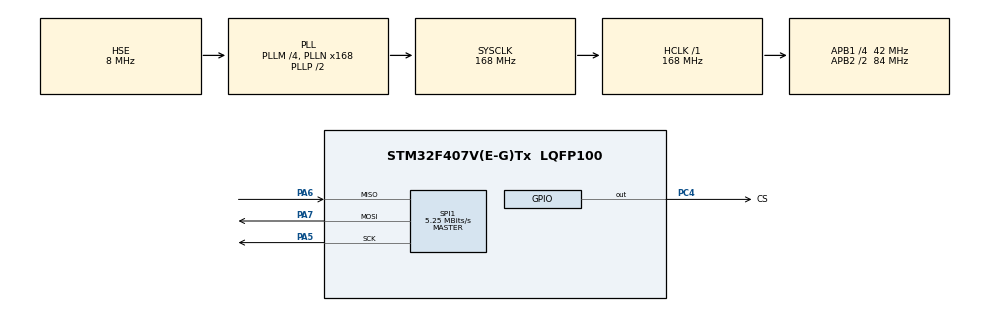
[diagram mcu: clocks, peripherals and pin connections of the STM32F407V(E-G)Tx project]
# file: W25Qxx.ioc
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Mcu.Family=STM32F4
Mcu.Name=STM32F407V(E-G)Tx
Mcu.Package=LQFP100
NVIC.PriorityGroup=NVIC_PRIORITYGROUP_4
PA13.Mode=Trace_Asynchronous_SW
PA13.Signal=SYS_JTMS-SWDIO
PA14.Mode=Trace_Asynchronous_SW
PA14.Signal=SYS_JTCK-SWCLK
PA5.Mode=Full_Duplex_Master
PA5.Signal=SPI1_SCK
PA6.Mode=Full_Duplex_Master
PA6.Signal=SPI1_MISO
PA7.Mode=Full_Duplex_Master
PA7.Signal=SPI1_MOSI
PB3.Mode=Trace_Asynchronous_SW
PB3.Signal=SYS_JTDO-SWO
PC4.GPIO_Label=CS
PC4.Signal=GPIO_Output
PH0-OSC_IN.Mode=HSE-External-Oscillator
PH0-OSC_IN.Signal=RCC_OSC_IN
PH1-OSC_OUT.Mode=HSE-External-Oscillator
PH1-OSC_OUT.Signal=RCC_OSC_OUT
ProjectManager.HeapSize=0x200
ProjectManager.StackSize=0x400
ProjectManager.TargetToolchain=STM32CubeIDE
RCC.48MHZClocksFreq_Value=84000000
RCC.AHBFreq_Value=168000000
RCC.APB1CLKDivider=RCC_HCLK_DIV4
RCC.APB1Freq_Value=42000000
RCC.APB1TimFreq_Value=84000000
RCC.APB2CLKDivider=RCC_HCLK_DIV2
RCC.APB2Freq_Value=84000000
RCC.APB2TimFreq_Value=168000000
RCC.CortexFreq_Value=168000000
RCC.HCLKFreq_Value=168000000
RCC.HSE_VALUE=8000000
RCC.HSI_VALUE=16000000
RCC.LSE_VALUE=32768
RCC.PLLM=4
RCC.PLLN=168
RCC.PLLSourceVirtual=RCC_PLLSOURCE_HSE
RCC.SYSCLKFreq_VALUE=168000000
RCC.SYSCLKSource=RCC_SYSCLKSOURCE_PLLCLK
RCC.VCOOutputFreq_Value=336000000
SPI1.BaudRatePrescaler=SPI_BAUDRATEPRESCALER_16
SPI1.CalculateBaudRate=5.25 MBits/s
SPI1.Direction=SPI_DIRECTION_2LINES
SPI1.Mode=SPI_MODE_MASTER
SPI1.VirtualType=VM_MASTER
board=custom

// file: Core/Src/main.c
/* USER CODE BEGIN Header */
/**
 ******************************************************************************
 * @file           : main.c
 * @brief          : Main program body
 ******************************************************************************
 * @attention
 *
 * Copyright (c) 2025 STMicroelectronics.
 * All rights reserved.
 *
 * This software is licensed under terms that can be found in the LICENSE file
 * in the root directory of this software component.
 * If no LICENSE file comes with this software, it is provided AS-IS.
 *
 ******************************************************************************
 */
/* USER CODE END Header */
#include "main.h"
#include "spi.h"
#include "gpio.h"

/* USER CODE BEGIN Includes */
#include "w25q.h"
#include <stdio.h>
#include <string.h>
#include "flashdb.h"
/* USER CODE END Includes */

/* USER CODE BEGIN PTD */
#define FDB_LOG_TAG "[main]"
/* USER CODE END PTD */

/* USER CODE BEGIN PV */
static uint32_t boot_count = 0;
static time_t boot_time[10] = {0, 1, 2, 3};
/* default KV nodes */
static struct fdb_default_kv_node default_kv_table[] = {
		{"username", "armink", 0}, /* string KV */
		{"password", "123456", 0}, /* string KV */
		{"boot_count", &boot_count, sizeof(boot_count)}, /* int type KV */
		{"boot_time", &boot_time, sizeof(boot_time)},    /* int array type KV */
};
/* KVDB object */
static struct fdb_kvdb kvdb = { 0 };
/* TSDB object */
struct fdb_tsdb tsdb = { 0 };
/* counts for simulated timestamp */
static int counts = 0;
/* USER CODE END PV */

void SystemClock_Config(void);
/* USER CODE BEGIN PFP */
extern void kvdb_basic_sample(fdb_kvdb_t kvdb);
extern void kvdb_type_string_sample(fdb_kvdb_t kvdb);
extern void kvdb_type_blob_sample(fdb_kvdb_t kvdb);
extern void tsdb_sample(fdb_tsdb_t tsdb);

static void lock(fdb_db_t db)
{
//	__disable_irq();
}

static void unlock(fdb_db_t db)
{
//	__enable_irq();
}

static fdb_time_t get_time(void)
{
	/* Using the counts instead of timestamp.
	 * Please change this function to return RTC time.
	 */
	return ++counts;
}
/* USER CODE END PFP */

/* USER CODE BEGIN 0 */
int __io_putchar(int ch)
{
	ITM_SendChar(ch);

	return ch;
}
// Callbacks de hardware de ejemplo
static int32_t w25q_spi_init(void *user_ctx)
{
	MX_SPI1_Init();
	// Inicializar hardware SPI aquí
	printf("SPI inicializado\r\n");
	return 0;
}

static int32_t w25q_spi_write_read(void *user_ctx, const uint8_t *tx, uint8_t *rx, size_t len)
{
	int32_t ret = HAL_OK;
	// Implementar transferencia SPI aquí
	if(tx == NULL)
	{
		ret = HAL_SPI_Receive(&hspi1, rx, len, HAL_MAX_DELAY);
	}
	else if(rx == NULL)
	{
		ret = HAL_SPI_Transmit(&hspi1, tx, len, HAL_MAX_DELAY);
	}
	else
	{
		ret = HAL_SPI_TransmitReceive(&hspi1, tx, rx, len, HAL_MAX_DELAY);
	}

	return ret;
}

static void w25q_cs_control(void *user_ctx, bool level)
{
	HAL_GPIO_WritePin(CS_GPIO_Port, CS_Pin, level ? GPIO_PIN_RESET : GPIO_PIN_SET);
}

static void w25q_delay_ms(uint32_t ms)
{
	HAL_Delay(ms);
}

static void w25q_lock(void *user_ctx) {}
static void w25q_unlock(void *user_ctx) {}

static w25q_hw_t w25q_hw = {
		.spi_init = w25q_spi_init,
		.spi_write_read = w25q_spi_write_read,
		.cs_control = w25q_cs_control,
		.delay_ms = w25q_delay_ms,
		.lock = w25q_lock,
		.unlock = w25q_unlock
};

w25q_handle_t flash;

/* USER CODE END 0 */

int main(void)
{

	/* USER CODE BEGIN 1 */
	w25q_config_t config = {
			.hw = &w25q_hw,
			.user_ctx = NULL,
			.timeout_ms = 5000,
			.software_cs = true
	};
	fdb_err_t result;
	/* USER CODE END 1 */

	/* MCU Configuration--------------------------------------------------------*/

	/* Reset of all peripherals, Initializes the Flash interface and the Systick. */
	HAL_Init();

	/* Configure the system clock */
	SystemClock_Config();

	/* Initialize all configured peripherals */
	MX_GPIO_Init();
	MX_SPI1_Init();
	/* USER CODE BEGIN 2 */
	// Inicializar
	w25q_err_t ret = w25q_init(&flash, &config);
	if (ret != W25Q_OK) {
		printf("Error inicializando: %d\n\r", ret);
		return -1;
	}

	// Obtener información
	w25q_info_t info;
	w25q_get_info(&flash, &info);
	printf("Capacidad: %lu bytes\n\r", info.capacity_bytes);

#ifdef FDB_USING_KVDB
	{ /* KVDB Sample */
		struct fdb_default_kv default_kv;

		default_kv.kvs = default_kv_table;
		default_kv.num = sizeof(default_kv_table) / sizeof(default_kv_table[0]);
		/* set the lock and unlock function if you want */
		fdb_kvdb_control(&kvdb, FDB_KVDB_CTRL_SET_LOCK, (void *)lock);
		fdb_kvdb_control(&kvdb, FDB_KVDB_CTRL_SET_UNLOCK, (void *)unlock);
		/* Key-Value database initialization
		 *
		 *       &kvdb: database object
		 *       "env": database name
		 * "fdb_kvdb1": The flash partition name base on FAL. Please make sure it's in FAL partition table.
		 *              Please change to YOUR partition name.
		 * &default_kv: The default KV nodes. It will auto add to KVDB when first initialize successfully.
		 *        NULL: The user data if you need, now is empty.
		 */
		result = fdb_kvdb_init(&kvdb, "env", "fdb_kvdb1", &default_kv, NULL);

		if (result != FDB_NO_ERR) {
			return -1;
		}

		/* run basic KV samples */
		kvdb_basic_sample(&kvdb);
		/* run string KV samples */
		kvdb_type_string_sample(&kvdb);
		/* run blob KV samples */
		kvdb_type_blob_sample(&kvdb);
	}
#endif /* FDB_USING_KVDB */

#ifdef FDB_USING_TSDB
	{ /* TSDB Sample */
		/* set the lock and unlock function if you want */
		fdb_tsdb_control(&tsdb, FDB_TSDB_CTRL_SET_LOCK, (void *)lock);
		fdb_tsdb_control(&tsdb, FDB_TSDB_CTRL_SET_UNLOCK, (void *)unlock);
		/* Time series database initialization
		 *
		 *       &tsdb: database object
		 *       "log": database name
		 * "fdb_tsdb1": The flash partition name base on FAL. Please make sure it's in FAL partition table.
		 *              Please change to YOUR partition name.
		 *    get_time: The get current timestamp function.
		 *         128: maximum length of each log
		 *        NULL: The user data if you need, now is empty.
		 */
		result = fdb_tsdb_init(&tsdb, "log", "fdb_tsdb1", get_time, 128, NULL);
		/* read last saved time for simulated timestamp */
		fdb_tsdb_control(&tsdb, FDB_TSDB_CTRL_GET_LAST_TIME, &counts);

		if (result != FDB_NO_ERR) {
			return -1;
		}

		/* run TSDB sample */
		tsdb_sample(&tsdb);
	}
#endif /* FDB_USING_TSDB */

	/* USER CODE END 2 */

	/* Infinite loop */
	while (1)
	{

	}
}

void SystemClock_Config(void)
{
	RCC_OscInitTypeDef RCC_OscInitStruct = {0};
	RCC_ClkInitTypeDef RCC_ClkInitStruct = {0};

	/** Configure the main internal regulator output voltage
	 */
	__HAL_RCC_PWR_CLK_ENABLE();
	__HAL_PWR_VOLTAGESCALING_CONFIG(PWR_REGULATOR_VOLTAGE_SCALE1);

	/** Initializes the RCC Oscillators according to the specified parameters
	 * in the RCC_OscInitTypeDef structure.
	 */
	RCC_OscInitStruct.OscillatorType = RCC_OSCILLATORTYPE_HSE;
	RCC_OscInitStruct.HSEState = RCC_HSE_ON;
	RCC_OscInitStruct.PLL.PLLState = RCC_PLL_ON;
	RCC_OscInitStruct.PLL.PLLSource = RCC_PLLSOURCE_HSE;
	RCC_OscInitStruct.PLL.PLLM = 4;
	RCC_OscInitStruct.PLL.PLLN = 168;
	RCC_OscInitStruct.PLL.PLLP = RCC_PLLP_DIV2;
	RCC_OscInitStruct.PLL.PLLQ = 4;
	if (HAL_RCC_OscConfig(&RCC_OscInitStruct) != HAL_OK)
	{
		Error_Handler();
	}

	/** Initializes the CPU, AHB and APB buses clocks
	 */
	RCC_ClkInitStruct.ClockType = RCC_CLOCKTYPE_HCLK|RCC_CLOCKTYPE_SYSCLK
			|RCC_CLOCKTYPE_PCLK1|RCC_CLOCKTYPE_PCLK2;
	RCC_ClkInitStruct.SYSCLKSource = RCC_SYSCLKSOURCE_PLLCLK;
	RCC_ClkInitStruct.AHBCLKDivider = RCC_SYSCLK_DIV1;
	RCC_ClkInitStruct.APB1CLKDivider = RCC_HCLK_DIV4;
	RCC_ClkInitStruct.APB2CLKDivider = RCC_HCLK_DIV2;

	if (HAL_RCC_ClockConfig(&RCC_ClkInitStruct, FLASH_LATENCY_5) != HAL_OK)
	{
		Error_Handler();
	}
}

void Error_Handler(void)
{
	__disable_irq();
	while (1)
	{
	}
}
